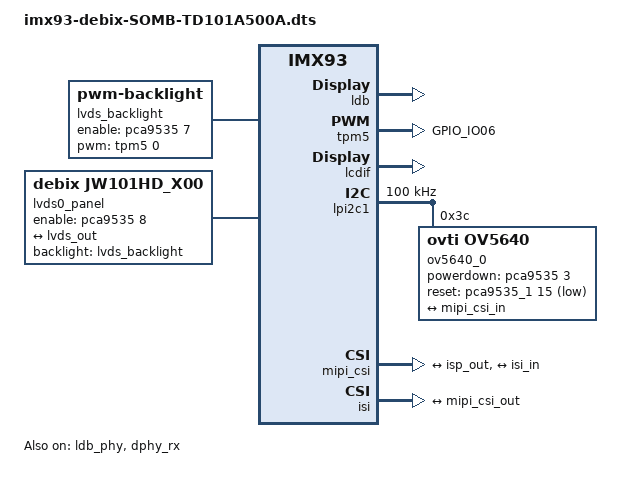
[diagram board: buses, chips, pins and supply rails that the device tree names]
// SPDX-License-Identifier: (GPL-2.0+ OR MIT)
/*
 * Copyright 2022 NXP
 */
#if 0
#include "imx93-11x11-evk.dts"
#else
#include "imx93-debix-SOMB.dts"
#endif
/ {

	lvds_backlight: lvds_backlight {
		compatible = "pwm-backlight";
		pwms = <&tpm5 0 100000 0>;
		status = "okay";
		//pinctrl-0 = <&pinctrl_pwm_en>;
		enable-gpios = <&pca9535 7 GPIO_ACTIVE_HIGH>;

		brightness-levels = < 0  1  2  3  4  5  6  7  8  9
				     10 11 12 13 14 15 16 17 18 19
				     20 21 22 23 24 25 26 27 28 29
				     30 31 32 33 34 35 36 37 38 39
				     40 41 42 43 44 45 46 47 48 49
				     50 51 52 53 54 55 56 57 58 59
				     60 61 62 63 64 65 66 67 68 69
				     70 71 72 73 74 75 76 77 78 79
				     80 81 82 83 84 85 86 87 88 89
				     90 91 92 93 94 95 96 97 98 99
				    100>;
		default-brightness-level = <80>;
	};

	lvds0_panel {
		compatible = "debix,JW101HD_X00";
		//compatible = "boe,ev121wxm-n10-1850";
		pinctrl-names = "default";
		//pinctrl-0 = <&pinctrl_lvds_en>;
		enable-gpios = <&pca9535 8 GPIO_ACTIVE_HIGH>;
		
		backlight = <&lvds_backlight>;

		port {
			panel_lvds_in: endpoint {
				remote-endpoint = <&lvds_out>;
			};
		};
	};
};

&ldb {
	status = "okay";

	lvds-channel@0 {
		//fsl,data-mapping = "jeida";
		fsl,data-mapping = "spwg";
		fsl,data-width = <24>;
		status = "okay";

		port@1 {
			reg = <1>;

			lvds_out: endpoint {
				remote-endpoint = <&panel_lvds_in>;
			};
		};
	};
};


&tpm5 {
	pinctrl-names = "default";
	pinctrl-0 = <&pinctrl_pwm5>;
	status = "okay";
};

&ldb_phy {
	status = "okay";
};


&dphy {
	status = "disabled";
};

&dsi {
	status = "disabled";
};


&lcdif {
	status = "okay";
	assigned-clock-rates = <498000000>, <71142857>, <400000000>, <133333333>;
};


//OV5640 (MIPI) --> DPHY --> MIPI CSI2 --> ISI --> /dev/videoX

// &cameradev {
// 	status = "okay";
// };

// &isi_0 {
// 	status = "okay";

// 	cap_device {
// 		status = "okay";
// 	};
// };


&lpi2c1 {
	clock-frequency = <100000>;
	ov5640_0: ov5640_mipi@3c {
                compatible = "ovti,ov5640";
                reg = <0x3c>;
                pinctrl-names = "default";
               // pinctrl-0 = <&pinctrl_csi0_pwn>, <&pinctrl_csi0_rst>, <&pinctrl_csi0_mclk>;
                //pinctrl-0 = <&pinctrl_csi0_mclk>;

				clocks = <&clk IMX93_CLK_CCM_CKO3>;
				clock-names = "xclk";
				assigned-clocks = <&clk IMX93_CLK_CCM_CKO3>;
				assigned-clock-parents = <&clk IMX93_CLK_24M>;
				assigned-clock-rates = <24000000>;
				csi_id = <0>;
				powerdown-gpios = <&pca9535 3 GPIO_ACTIVE_HIGH>;
				reset-gpios = <&pca9535_1 15 GPIO_ACTIVE_LOW>;
				// mclk = <24000000>;
				// mclk_source = <0>;
				mipi_csi;
				status = "okay";
	//connect to csi			
				port {
						isp_out: endpoint {
								remote-endpoint = <&mipi_csi_in>;
								data-lanes = <1 2>;
								clock-lanes = <0>;
						};
					};				
				};

};


&dphy_rx {
	status = "okay";
};


&mipi_csi {
	status = "okay";

	ports {
		#address-cells = <1>;
		#size-cells = <0>;
//connect to ov5640
		port@0 {
			reg = <0>;
			
			mipi_csi_in: endpoint {
				remote-endpoint = <&isp_out>;
				data-lanes = <1 2>;
				clock-lanes = <0>;
			#if 1
				cfg-clk-range = <28>; /*24MHz = 28*/
				hs-clk-range = <0x16>;  
				bus-type = <4>;
			#endif
			};
		};
//connect to isi
		port@1 {
			reg = <1>;

			mipi_csi_out: endpoint {
				remote-endpoint = <&isi_in>;
			};
		};
	};
};


&isi {
	status = "okay";
	port {
		isi_in: endpoint {
			remote-endpoint = <&mipi_csi_out>;
		};
	};
};

&iomuxc {
	pinctrl_pwm5: pwm5grp {
		fsl,pins = <
			MX93_PAD_GPIO_IO06__TPM5_CH0	0x139e
		>;
	};
	#if 0
		pinctrl_csi0_mclk: csi0_mclk_grp {
                fsl,pins = <
			 //MX93_PAD_CCM_CLKO3__CCMSRCGPCMIX_CLKO3  0x31e
			 MX93_PAD_CCM_CLKO3__CCMSRCGPCMIX_CLKO3  0x1fe
                >;
        };
	#endif

};
